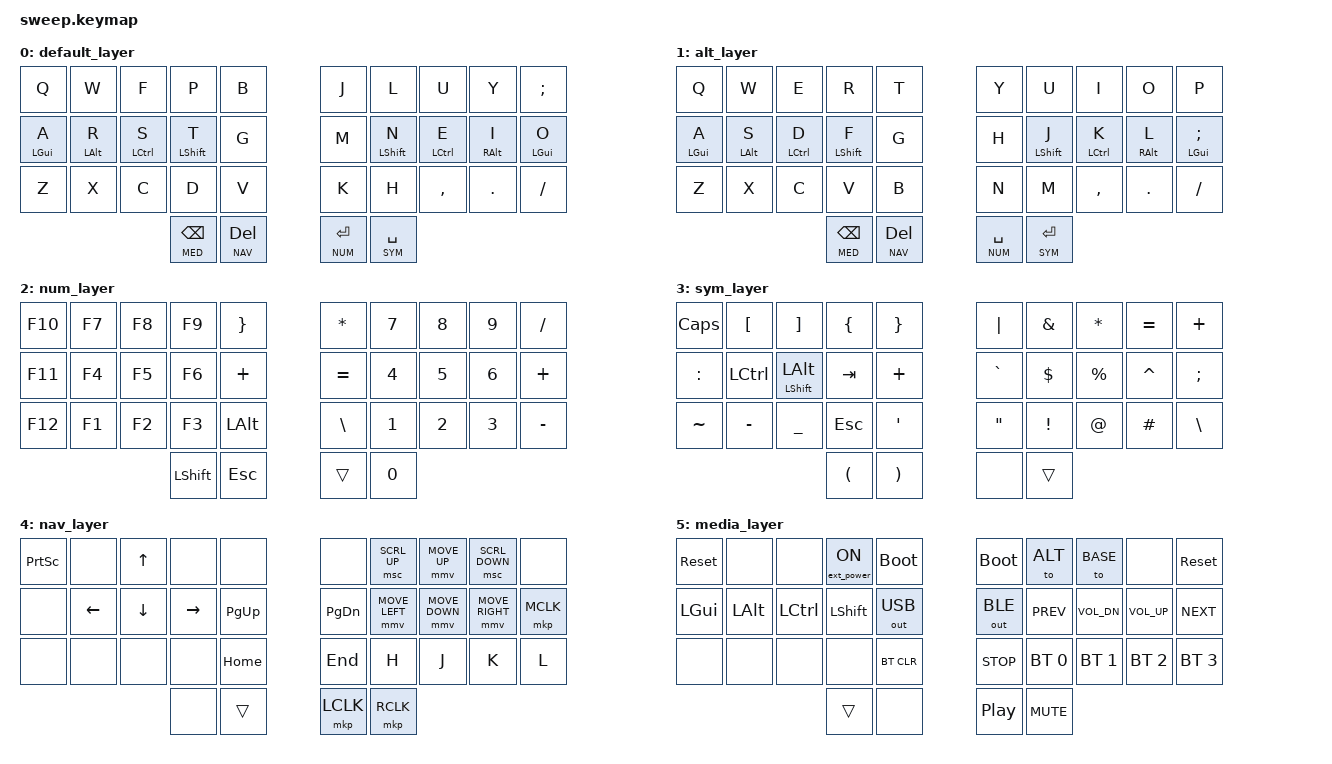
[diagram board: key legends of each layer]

/*
 * Copyright (c) 2020 duckyb
 *
 * SPDX-License-Identifier: MIT
 */

#define ZMK_POINTING_DEFAULT_MOVE_VAL 2500  // 600
#define ZMK_POINTING_DEFAULT_SCRL_VAL 20    // 10

#include <behaviors.dtsi>
#include <dt-bindings/zmk/bt.h>
#include <dt-bindings/zmk/keys.h>
#include <dt-bindings/zmk/outputs.h>
#include <dt-bindings/zmk/pointing.h>

// Layer definitions
#define BASE    0
#define ALT     1
#define NUM     2
#define SYM     3
#define NAV     4
#define MED     5
// -----------------

&sk {
	// don't release mods on other mods presses
	ignore-modifiers;
};


/ {
    // chosen { zmk,charmap = &charmap_us; };

    behaviors {
        ht: hold_tap {
            label = "hold_tap";
            compatible = "zmk,behavior-hold-tap";
            #binding-cells = <2>;
            flavor = "tap-preferred";
            tapping-term-ms = <220>;
            quick-tap-ms = <150>;
            global-quick-tap;
            bindings = <&kp>, <&kp>;
        };

        mmv {
            acceleration-exponent = <1>;      // 1
            time-to-max-speed-ms = <300>;    // 40
            delay-ms = <0>;                   // 0
        };

        msc {
            acceleration-exponent = <0>;      // 0
            time-to-max-speed-ms = <40>;      // 500
            delay-ms = <0>;                   // 10
        };
    };

    keymap {
        compatible = "zmk,keymap";

        default_layer {
             bindings = <
&kp Q       &kp W       &kp F        &kp P        &kp B        &kp J        &kp L        &kp U        &kp Y       &kp SEMI
&ht LGUI A  &ht LALT R  &ht LCTRL S  &ht LSHFT T  &kp G        &kp M        &ht LSHFT N  &ht LCTRL E  &ht RALT I  &ht LGUI O
&kp Z       &kp X       &kp C        &kp D        &kp V        &kp K        &kp H        &kp COMMA    &kp DOT     &kp FSLH
                                     &lt MED BSPC &lt NAV DEL  &lt NUM RET  &lt SYM SPACE
            >;
        };

    alt_layer {
             bindings = <
&kp Q       &kp W       &kp E       &kp R        &kp T                      &kp Y           &kp U       &kp I       &kp O           &kp P
&ht LGUI A  &ht LALT S  &ht LCTRL D &ht LSHFT F  &kp G                      &kp H           &ht LSHFT J &ht LCTRL K &ht RALT L      &ht LGUI SEMI
&kp Z       &kp X       &kp C       &kp V        &kp B                      &kp N           &kp M       &kp COMMA   &kp DOT         &kp FSLH
                                    &lt MED BSPC &lt NAV DEL                &lt NUM SPACE   &lt SYM RET
            >;
        };

        num_layer {
            bindings = <
&kp F10    &kp F7  &kp F8  &kp F9    &kp RBRC    &kp ASTRK  &kp N7  &kp N8  &kp N9  &kp FSLH
&kp F11    &kp F4  &kp F5  &kp F6    &kp PLUS    &kp EQUAL  &kp N4  &kp N5  &kp N6  &kp PLUS
&kp F12    &kp F1  &kp F2  &kp F3    &kp LALT    &kp BSLH   &kp N1  &kp N2  &kp N3  &kp MINUS
                           &kp LSHFT &kp ESC     &trans     &kp N0
            >;
        };

        sym_layer {
            bindings = <
&kp CAPS   &kp LBKT   &kp RBKT        &kp LBRC  &kp RBRC    &kp PIPE   &kp AMPS  &kp ASTRK  &kp EQUAL  &kp PLUS
&kp COLON  &kp LCTRL  &ht LSHFT LALT  &kp TAB   &kp PLUS    &kp GRAVE  &kp DLLR  &kp PRCNT  &kp CARET  &kp SEMI
&kp TILDE  &kp MINUS  &kp UNDER       &kp ESC   &kp SQT     &kp DQT    &kp EXCL  &kp AT     &kp HASH   &kp BSLH
                                      &kp LPAR  &kp RPAR    &none      &trans
            >;
        };

        nav_layer {
            bindings = <
&kp PSCRN  &none     &kp UP    &none      &none        &none      &msc SCRL_UP    &mmv MOVE_UP    &msc SCRL_DOWN   &none
&none      &kp LEFT  &kp DOWN  &kp RIGHT  &kp PG_UP    &kp PG_DN  &mmv MOVE_LEFT  &mmv MOVE_DOWN  &mmv MOVE_RIGHT  &mkp MCLK
&none      &none     &none     &none      &kp HOME     &kp END    &kp H           &kp J           &kp K            &kp L
                               &none      &trans       &mkp LCLK  &mkp RCLK
            >;
        };

        media_layer {
            bindings = <
&sys_reset  &none     &none      &ext_power EP_ON &bootloader     &bootloader   &to ALT       &to BASE      &none         &sys_reset
&kp LGUI    &kp LALT  &kp LCTRL  &kp LSHFT        &out OUT_USB    &out OUT_BLE  &kp C_PREV    &kp C_VOL_DN  &kp C_VOL_UP  &kp C_NEXT
&none       &none     &none      &none            &bt BT_CLR      &kp C_STOP    &bt BT_SEL 0  &bt BT_SEL 1  &bt BT_SEL 2  &bt BT_SEL 3
                                 &trans           &none           &kp C_PP      &kp C_MUTE
            >;
        };

        /*     fun_layer {
            bindings = <
    &kp F12 &kp F7  &kp F8  &kp F9      &kp PSCRN                           &none   &none       &none       &none       &none
    &kp F11 &kp F4  &kp F5  &kp F6      &kp SLCK                            &none   &kp RSHFT   &kp RCTRL   &kp RALT    &kp RGUI
    &kp F10 &kp F1  &kp F2  &kp F3      &kp PAUSE_BREAK                     &none   &none       &none       &none       &none
                            &kp K_APP   &kp SPACE                           &none   &trans
            >;
        }; */
    };
};
